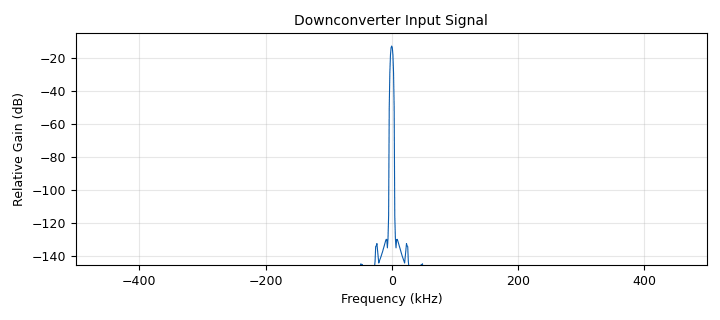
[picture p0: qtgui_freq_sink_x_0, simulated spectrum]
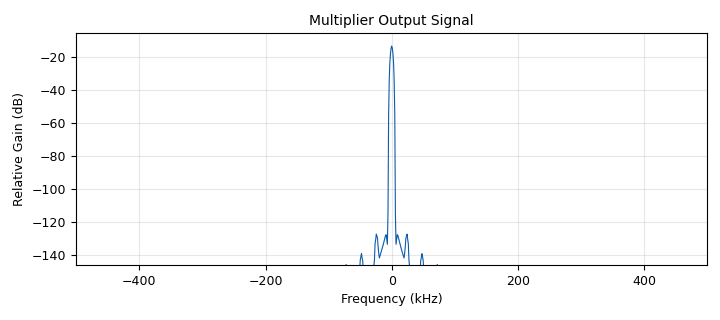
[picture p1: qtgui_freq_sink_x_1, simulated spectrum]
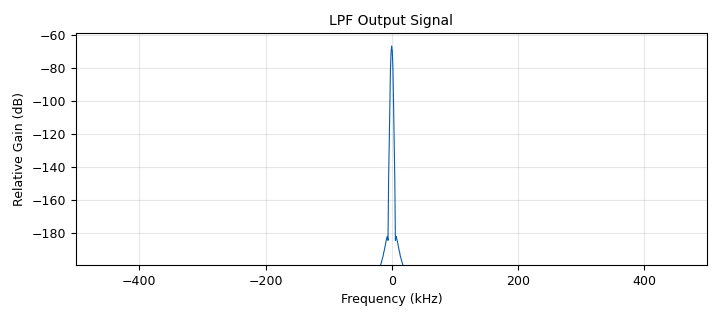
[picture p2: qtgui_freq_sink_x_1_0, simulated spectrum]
<?xml version='1.0' encoding='utf-8'?>
<?grc format='1' created='3.7.10'?>
<flow_graph>
<block>
<key>options</key>
<param><key>id</key><value>downConverter</value></param>
<param><key>author</key><value>Alexandros-Apostolos A. Boulogeorgos</value></param>
<param><key>description</key><value>This example demonstrates how a down-converter operates</value></param>
<param><key>generate_options</key><value>qt_gui</value></param>
<param><key>title</key><value>Down Converter</value></param>
</block>
<block>
<key>variable_qtgui_range</key>
<param><key>id</key><value>fr_LO</value></param>
<param><key>value</key><value>1000</value></param>
<param><key>gui_hint</key><value>0,1,1,1</value></param>
<param><key>label</key><value>LO frequency</value></param>
<param><key>orient</key><value>Qt.Horizontal</value></param>
<param><key>start</key><value>500</value></param>
<param><key>step</key><value>50</value></param>
<param><key>stop</key><value>100000</value></param>
</block>
<block>
<key>variable_qtgui_range</key>
<param><key>id</key><value>fr_signal</value></param>
<param><key>value</key><value>1000</value></param>
<param><key>gui_hint</key><value>0,0,1,1</value></param>
<param><key>label</key><value>Signal frequency</value></param>
<param><key>orient</key><value>Qt.Horizontal</value></param>
<param><key>start</key><value>500</value></param>
<param><key>step</key><value>50</value></param>
<param><key>stop</key><value>10000</value></param>
</block>
<block>
<key>variable</key>
<param><key>id</key><value>samp_rate</value></param>
<param><key>value</key><value>1000000</value></param>
</block>
<block>
<key>variable</key>
<param><key>id</key><value>taps</value></param>
<param><key>value</key><value>firdes.low_pass_2(1, 1, 0.2, 0.05, 80)</value></param>
</block>
<block>
<key>analog_sig_source_x</key>
<param><key>id</key><value>analog_sig_source_x_0</value></param>
<param><key>amp</key><value>1</value></param>
<param><key>freq</key><value>fr_signal</value></param>
<param><key>offset</key><value>0</value></param>
<param><key>type</key><value>float</value></param>
<param><key>samp_rate</key><value>samp_rate</value></param>
<param><key>waveform</key><value>analog.GR_COS_WAVE</value></param>
</block>
<block>
<key>analog_sig_source_x</key>
<param><key>id</key><value>analog_sig_source_x_0_0</value></param>
<param><key>amp</key><value>1</value></param>
<param><key>freq</key><value>fr_LO</value></param>
<param><key>offset</key><value>0</value></param>
<param><key>type</key><value>float</value></param>
<param><key>samp_rate</key><value>samp_rate</value></param>
<param><key>waveform</key><value>analog.GR_COS_WAVE</value></param>
</block>
<block>
<key>blocks_multiply_xx</key>
<param><key>id</key><value>blocks_multiply_xx_0</value></param>
<param><key>type</key><value>float</value></param>
</block>
<block>
<key>fir_filter_xxx</key>
<param><key>id</key><value>fir_filter_xxx_0</value></param>
<param><key>decim</key><value>1</value></param>
<param><key>_enabled</key><value>0</value></param>
<param><key>taps</key><value>taps</value></param>
<param><key>type</key><value>fff</value></param>
</block>
<block>
<key>low_pass_filter</key>
<param><key>id</key><value>low_pass_filter_0</value></param>
<param><key>cutoff_freq</key><value>0.3</value></param>
<param><key>decim</key><value>1</value></param>
<param><key>type</key><value>fir_filter_fff</value></param>
<param><key>gain</key><value>1</value></param>
<param><key>samp_rate</key><value>samp_rate</value></param>
<param><key>width</key><value>0.5</value></param>
<param><key>win</key><value>firdes.WIN_RECTANGULAR</value></param>
</block>
<block>
<key>qtgui_freq_sink_x</key>
<param><key>id</key><value>qtgui_freq_sink_x_0</value></param>
<param><key>autoscale</key><value>True</value></param>
<param><key>bw</key><value>samp_rate</value></param>
<param><key>fc</key><value>0</value></param>
<param><key>fftsize</key><value>1024</value></param>
<param><key>gui_hint</key><value>1,0,1,1</value></param>
<param><key>grid</key><value>True</value></param>
<param><key>name</key><value>"Downconverter Input Signal"</value></param>
<param><key>showports</key><value>True</value></param>
<param><key>type</key><value>float</value></param>
<param><key>wintype</key><value>firdes.WIN_BLACKMAN_hARRIS</value></param>
</block>
<block>
<key>qtgui_freq_sink_x</key>
<param><key>id</key><value>qtgui_freq_sink_x_1</value></param>
<param><key>autoscale</key><value>True</value></param>
<param><key>bw</key><value>samp_rate</value></param>
<param><key>fc</key><value>0</value></param>
<param><key>fftsize</key><value>1024</value></param>
<param><key>gui_hint</key><value>1,1,1,1</value></param>
<param><key>grid</key><value>True</value></param>
<param><key>name</key><value>"Multiplier Output Signal"</value></param>
<param><key>showports</key><value>True</value></param>
<param><key>type</key><value>float</value></param>
<param><key>wintype</key><value>firdes.WIN_BLACKMAN_hARRIS</value></param>
</block>
<block>
<key>qtgui_freq_sink_x</key>
<param><key>id</key><value>qtgui_freq_sink_x_1_0</value></param>
<param><key>autoscale</key><value>True</value></param>
<param><key>bw</key><value>samp_rate</value></param>
<param><key>fc</key><value>0</value></param>
<param><key>fftsize</key><value>1024</value></param>
<param><key>gui_hint</key><value>1,2,1,1</value></param>
<param><key>grid</key><value>True</value></param>
<param><key>name</key><value>"LPF Output Signal"</value></param>
<param><key>showports</key><value>True</value></param>
<param><key>type</key><value>float</value></param>
<param><key>wintype</key><value>firdes.WIN_BLACKMAN_hARRIS</value></param>
</block>
<connection><source_block_id>analog_sig_source_x_0</source_block_id><sink_block_id>blocks_multiply_xx_0</sink_block_id><source_key>0</source_key><sink_key>0</sink_key></connection>
<connection><source_block_id>analog_sig_source_x_0</source_block_id><sink_block_id>qtgui_freq_sink_x_0</sink_block_id><source_key>0</source_key><sink_key>0</sink_key></connection>
<connection><source_block_id>analog_sig_source_x_0_0</source_block_id><sink_block_id>blocks_multiply_xx_0</sink_block_id><source_key>0</source_key><sink_key>1</sink_key></connection>
<connection><source_block_id>blocks_multiply_xx_0</source_block_id><sink_block_id>fir_filter_xxx_0</sink_block_id><source_key>0</source_key><sink_key>0</sink_key></connection>
<connection><source_block_id>blocks_multiply_xx_0</source_block_id><sink_block_id>low_pass_filter_0</sink_block_id><source_key>0</source_key><sink_key>0</sink_key></connection>
<connection><source_block_id>blocks_multiply_xx_0</source_block_id><sink_block_id>qtgui_freq_sink_x_1</sink_block_id><source_key>0</source_key><sink_key>0</sink_key></connection>
<connection><source_block_id>fir_filter_xxx_0</source_block_id><sink_block_id>qtgui_freq_sink_x_1_0</sink_block_id><source_key>0</source_key><sink_key>0</sink_key></connection>
<connection><source_block_id>low_pass_filter_0</source_block_id><sink_block_id>qtgui_freq_sink_x_1_0</sink_block_id><source_key>0</source_key><sink_key>0</sink_key></connection>
</flow_graph>
